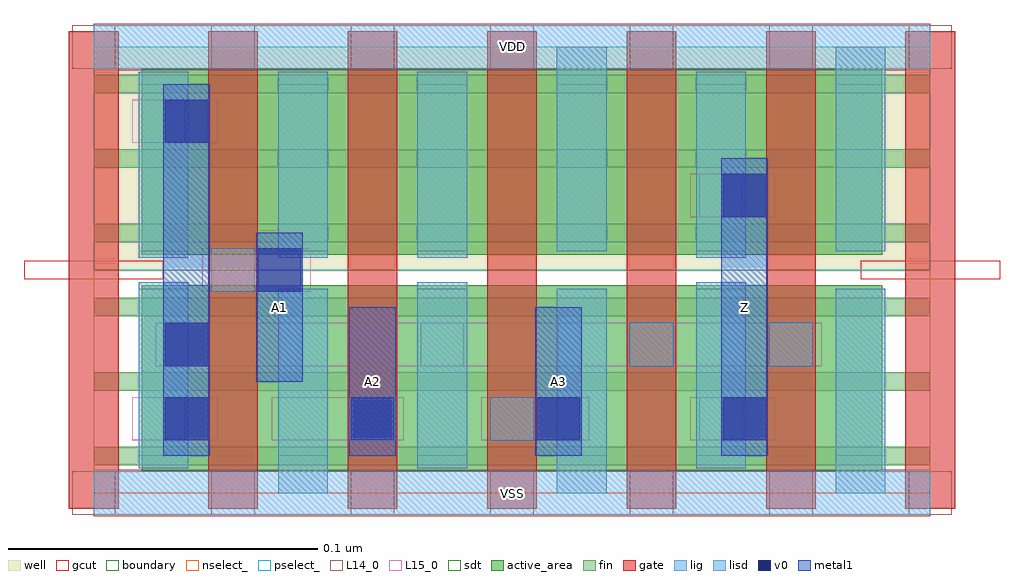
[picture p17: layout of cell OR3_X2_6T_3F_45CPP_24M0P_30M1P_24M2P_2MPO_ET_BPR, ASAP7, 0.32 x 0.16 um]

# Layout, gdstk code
import gdstk
lib = gdstk.Library(unit=1e-6, precision=2.5e-10)
def R(c, l, rs):  # rectangles x0, y0, x1, y1
    for r in rs: c.add(gdstk.rectangle(r[:2], r[2:], *l))
def A(c, l, x, y, w, h, nx, ny, dx, dy):  # array of equal rectangles
    R(c, l, [(x+i*dx, y+j*dy, x+i*dx+w, y+j*dy+h) for i in range(nx) for j in range(ny)])
well = (1, 0)
fin = (2, 0)
gate = (7, 0)
gcut = (10, 0)
active_area = (11, 0)
nselect_ = (12, 0)
pselect_ = (13, 0)
L14_0 = (14, 0)
L15_0 = (15, 0)
lig = (16, 0)
lisd = (17, 0)
v0 = (18, 0)
metal1 = (19, 0)
sdt = (88, 0)
boundary = (100, 0)

or3_x2_6t_3f_45cpp_24m0p = lib.new_cell('OR3_X2_6T_3F_45CPP_24M0P_30M1P_24M2P_2MPO_ET_BPR')
R(or3_x2_6t_3f_45cpp_24m0p, well, [(0,0.072,0.27,0.144)])
A(or3_x2_6t_3f_45cpp_24m0p, fin, 0, 0.009, 0.27, 0.006, 1, 6, 0, 0.024)
A(or3_x2_6t_3f_45cpp_24m0p, gate, -0.008, -0.005, 0.016, 0.154, 7, 1, 0.045, 0)
R(or3_x2_6t_3f_45cpp_24m0p, gcut, [(0,-0.0075,0.27,0.0075), (-0.0225,0.069,0.0225,0.075), (0.2475,0.069,0.2925,0.075), (0,0.1365,0.27,0.1515)])
A(or3_x2_6t_3f_45cpp_24m0p, active_area, 0.0155, 0.007, 0.059, 0.06, 3, 2, 0.045, 0.07)
R(or3_x2_6t_3f_45cpp_24m0p, active_area, [(0.1505,0.007,0.2545,0.067), (0.1505,0.077,0.2545,0.137)])
R(or3_x2_6t_3f_45cpp_24m0p, nselect_, [(0,0,0.27,0.072)])
R(or3_x2_6t_3f_45cpp_24m0p, pselect_, [(0,0.072,0.27,0.144)])
A(or3_x2_6t_3f_45cpp_24m0p, L14_0, -0.007, -0.007, 0.014, 0.014, 7, 2, 0.045, 0.144)
R(or3_x2_6t_3f_45cpp_24m0p, L14_0, [(0.0155,0.017,0.0295,0.031), (0.083,0.017,0.097,0.031), (0.128,0.017,0.142,0.031), (0.1955,0.017,0.2095,0.031), (0.1055,0.041,0.1195,0.055), (0.173,0.041,0.187,0.055), (0.218,0.041,0.232,0.055), (0.038,0.065,0.052,0.079), (0.1955,0.089,0.2095,0.103), (0.0155,0.113,0.0295,0.127)])
R(or3_x2_6t_3f_45cpp_24m0p, L15_0, [(0,-0.007,0.27,0.007), (0.0125,0.017,0.04,0.031), (0.0575,0.017,0.1,0.031), (0.125,0.017,0.16,0.031), (0.1925,0.017,0.22,0.031), (0.02,0.041,0.235,0.055), (0.035,0.065,0.07,0.079), (0.1925,0.089,0.22,0.103), (0.0125,0.113,0.04,0.127), (0,0.137,0.27,0.151)])
R(or3_x2_6t_3f_45cpp_24m0p, lig, [(0,-0.007,0.27,0.007), (0.083,0.017,0.097,0.031), (0.128,0.017,0.142,0.031), (0.173,0.041,0.187,0.055), (0.218,0.041,0.232,0.055), (0.038,0.065,0.052,0.079), (0,0.137,0.27,0.151)])
A(or3_x2_6t_3f_45cpp_24m0p, lisd, 0.0595, 0, 0.016, 0.066, 3, 1, 0.09, 0)
A(or3_x2_6t_3f_45cpp_24m0p, lisd, 0.0145, 0.008, 0.016, 0.06, 3, 1, 0.09, 0)
A(or3_x2_6t_3f_45cpp_24m0p, lisd, 0.0145, 0.076, 0.016, 0.06, 3, 1, 0.045, 0)
R(or3_x2_6t_3f_45cpp_24m0p, lisd, [(0.1945,0.076,0.2105,0.136), (0.1495,0.078,0.1655,0.144), (0.2395,0.078,0.2555,0.144)])
A(or3_x2_6t_3f_45cpp_24m0p, v0, 0.023, 0.017, 0.014, 0.014, 4, 1, 0.06, 0)
R(or3_x2_6t_3f_45cpp_24m0p, v0, [(0.023,0.041,0.037,0.055), (0.053,0.065,0.067,0.079), (0.203,0.089,0.217,0.103), (0.023,0.113,0.037,0.127)])
R(or3_x2_6t_3f_45cpp_24m0p, metal1, [(0.0225,0.012,0.0375,0.132), (0.0825,0.012,0.0975,0.06), (0.1425,0.012,0.1575,0.06), (0.2025,0.012,0.2175,0.108), (0.0525,0.036,0.0675,0.084)])
A(or3_x2_6t_3f_45cpp_24m0p, sdt, 0.0145, 0.012, 0.016, 0.054, 6, 2, 0.045, 0.066)
R(or3_x2_6t_3f_45cpp_24m0p, boundary, [(0,0,0.27,0.144)])
or3_x2_6t_3f_45cpp_24m0p.add(gdstk.Label('Z', (0.21,0.06), layer=19, texttype=251))
or3_x2_6t_3f_45cpp_24m0p.add(gdstk.Label('A3', (0.15,0.036), layer=19, texttype=251))
or3_x2_6t_3f_45cpp_24m0p.add(gdstk.Label('A1', (0.06,0.06), layer=19, texttype=251))
or3_x2_6t_3f_45cpp_24m0p.add(gdstk.Label('A2', (0.09,0.036), layer=19, texttype=251))
or3_x2_6t_3f_45cpp_24m0p.add(gdstk.Label('VDD', (0.135,0.144), layer=15, texttype=251))
or3_x2_6t_3f_45cpp_24m0p.add(gdstk.Label('VSS', (0.135,0), layer=15, texttype=251))
or3_x2_6t_3f_45cpp_24m0p.add(gdstk.Label('VDD', (0.135,0.144), layer=1, texttype=251))
or3_x2_6t_3f_45cpp_24m0p.add(gdstk.Label('VSS', (0.135,0), layer=3, texttype=251))

lib.write_gds('OR3_X2_6T_3F_45CPP_24M0P_30M1P_24M2P_2MPO_ET_BPR.gds')
